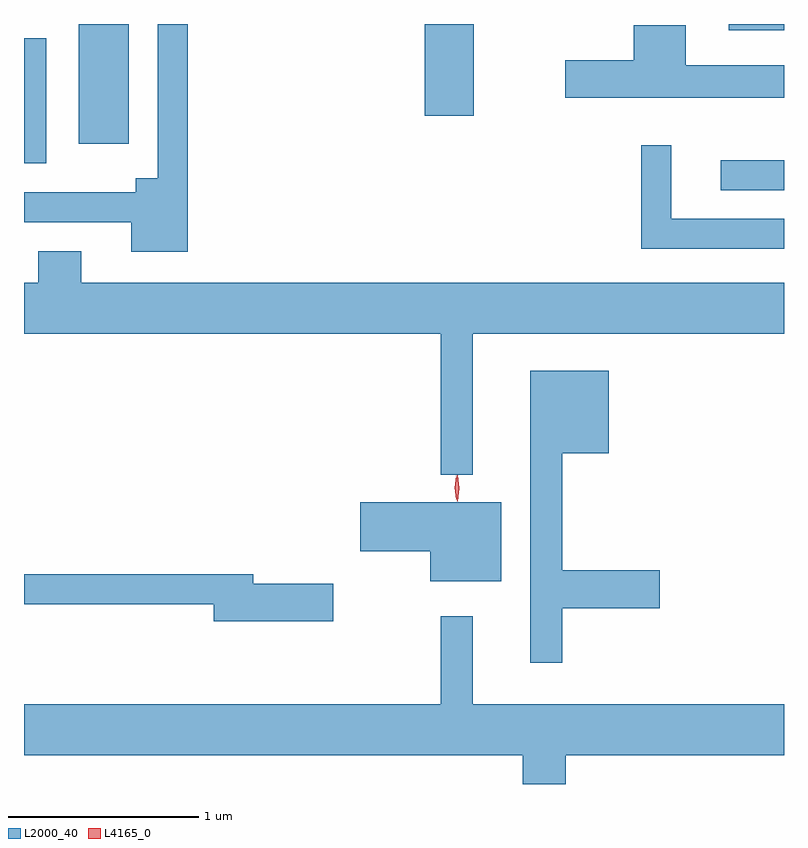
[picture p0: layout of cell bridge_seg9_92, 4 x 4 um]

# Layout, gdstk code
import gdstk
lib = gdstk.Library(unit=1e-6, precision=1e-09)
def R(c, l, rs):  # rectangles x0, y0, x1, y1
    for r in rs: c.add(gdstk.rectangle(r[:2], r[2:], *l))
def P(c, l, *ps):  # polygons
    for p in ps: c.add(gdstk.Polygon(p, *l))
L2000_40 = (2000, 40)
L4165_0 = (4165, 0)

bridge_seg9_92 = lib.new_cell('bridge_seg9_92')
R(bridge_seg9_92, L2000_40, [(1706.443,1994.791,1706.777,1994.949), (1702.777,1994.931,1702.894,1995.589), (1703.066,1995.036,1703.329,1995.665), (1704.886,1995.181,1705.144,1995.665), (1706.486,1995.631,1706.777,1995.665)])
P(bridge_seg9_92, L2000_40, [(1703.639,1995.665),(1703.481,1995.665),(1703.481,1994.854),(1703.366,1994.854),(1703.366,1994.779),(1702.777,1994.779),(1702.777,1994.621),(1703.341,1994.621),(1703.341,1994.466),(1703.639,1994.466)],
  [(1706.777,1995.449),(1706.259,1995.449),(1706.259,1995.659),(1705.986,1995.659),(1705.986,1995.474),(1705.626,1995.474),(1705.626,1995.276),(1706.777,1995.276)],
  [(1706.777,1994.639),(1706.184,1994.639),(1706.184,1995.028),(1706.026,1995.028),(1706.026,1994.481),(1706.777,1994.481)],
  [(1705.139,1994.036),(1706.777,1994.036),(1706.777,1994.304),(1703.079,1994.304),(1703.079,1994.469),(1702.851,1994.469),(1702.851,1994.304),(1702.777,1994.304),(1702.777,1994.036),(1704.971,1994.036),(1704.971,1993.293),(1705.139,1993.293)],
  [(1705.609,1992.591),(1706.124,1992.591),(1706.124,1992.789),(1705.609,1992.789),(1705.609,1993.406),(1705.854,1993.406),(1705.854,1993.839),(1705.441,1993.839),(1705.441,1992.303),(1705.609,1992.303)],
  [(1705.289,1993.149),(1704.546,1993.149),(1704.546,1992.891),(1704.916,1992.891),(1704.916,1992.731),(1705.289,1992.731)],
  [(1704.404,1992.719),(1703.984,1992.719),(1703.984,1992.769),(1702.777,1992.769),(1702.777,1992.611),(1703.776,1992.611),(1703.776,1992.521),(1704.404,1992.521)],
  [(1705.629,1991.816),(1706.777,1991.816),(1706.777,1992.084),(1705.139,1992.084),(1705.139,1992.548),(1704.971,1992.548),(1704.971,1992.084),(1702.777,1992.084),(1702.777,1991.816),(1705.401,1991.816),(1705.401,1991.665),(1705.629,1991.665)])
P(bridge_seg9_92, L4165_0, [(1705.058,1993.154),(1705.049,1993.222),(1705.058,1993.29),(1705.058,1993.29),(1705.059,1993.29),(1705.068,1993.222),(1705.059,1993.154),(1705.059,1993.154)],
  [(1705.052,1993.16),(1705.043,1993.223),(1705.052,1993.286),(1705.053,1993.287),(1705.053,1993.286),(1705.063,1993.223),(1705.053,1993.16),(1705.053,1993.16)])

lib.write_gds('bridge_seg9_92.gds')
